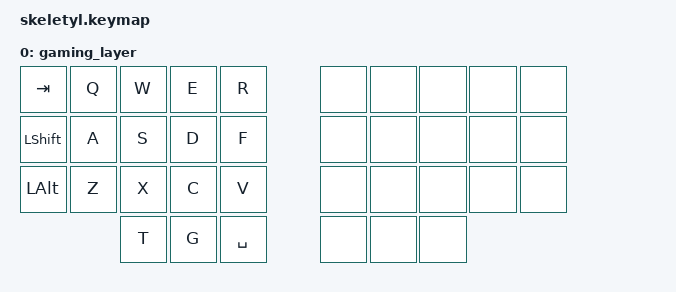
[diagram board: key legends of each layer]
#include <behaviors.dtsi>
#include <dt-bindings/zmk/keys.h>
#include <dt-bindings/zmk/bt.h>
#include <dt-bindings/zmk/outputs.h>
#include <dt-bindings/zmk/input_transform.h>

// Configure the built-in sticky layer behavior
&sl {
    release-after-ms = <5000>;
    quick-release;
};

// Layer definitions
#define GAMING 0

/ {
    behaviors {
        auto_move: auto_move {
            compatible = "zmk,behavior-macro";
            #binding-cells = <0>;
            bindings = <&kt W>;
        };
    };

    macros {
    };

    keymap {
        compatible = "zmk,keymap";

        gaming_layer {
            bindings = <
                &kp TAB       &kp Q         &kp W    &kp E         &kp R         &none         &none         &none         &none         &none
                &kp LSHIFT    &kp A         &kp S    &kp D         &kp F         &none         &none         &none         &none         &none
                &kp LALT      &kp Z         &kp X    &kp C         &kp V         &none         &none         &none         &none         &none
                &kp T         &kp G         &kp SPACE &none        &none         &none
            >;
        };
    };
};
